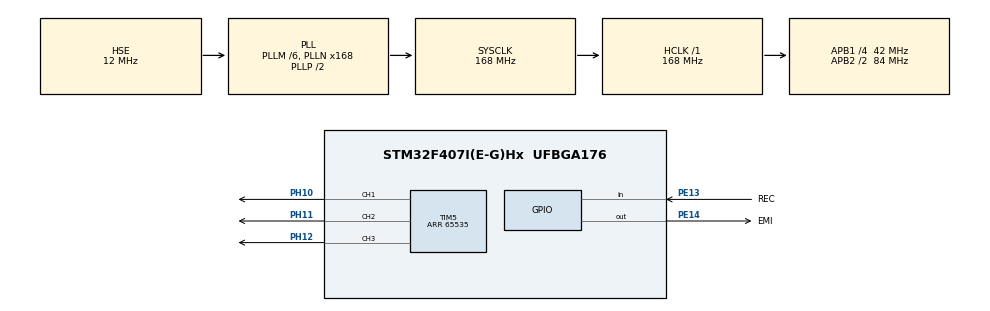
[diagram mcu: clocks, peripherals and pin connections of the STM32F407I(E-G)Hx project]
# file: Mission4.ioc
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FREERTOS.Tasks01=defaultTask,0,128,StartDefaultTask,Default,NULL,Dynamic,NULL,NULL;led_b,0,128,led_b_task,Default,NULL,Dynamic,NULL,NULL;led_g,0,128,led_g_tasl,Default,NULL,Dynamic,NULL,NULL;led_r,-3,128,led_r_task,Default,NULL,Dynamic,NULL,NULL;recieve,1,128,recieve_task,Default,NULL,Dynamic,NULL,NULL;emission,2,128,emission_task,Default,NULL,Dynamic,NULL,NULL
Mcu.Family=STM32F4
Mcu.Name=STM32F407I(E-G)Hx
Mcu.Package=UFBGA176
NVIC.PriorityGroup=NVIC_PRIORITYGROUP_4
PA13.Mode=Serial_Wire
PA13.Signal=SYS_JTMS-SWDIO
PA14.Mode=Serial_Wire
PA14.Signal=SYS_JTCK-SWCLK
PE13.GPIO_Label=REC
PE13.Signal=GPIO_Input
PE14.GPIO_Label=EMI
PE14.Signal=GPIO_Output
PH0-OSC_IN.Mode=HSE-External-Oscillator
PH0-OSC_IN.Signal=RCC_OSC_IN
PH1-OSC_OUT.Mode=HSE-External-Oscillator
PH1-OSC_OUT.Signal=RCC_OSC_OUT
PH10.Signal=S_TIM5_CH1
PH11.Signal=S_TIM5_CH2
PH12.Signal=S_TIM5_CH3
ProjectManager.HeapSize=0x200
ProjectManager.StackSize=0x400
ProjectManager.TargetToolchain=EWARM V8.50
RCC.48MHZClocksFreq_Value=84000000
RCC.AHBFreq_Value=168000000
RCC.APB1CLKDivider=RCC_HCLK_DIV4
RCC.APB1Freq_Value=42000000
RCC.APB1TimFreq_Value=84000000
RCC.APB2CLKDivider=RCC_HCLK_DIV2
RCC.APB2Freq_Value=84000000
RCC.APB2TimFreq_Value=168000000
RCC.CortexFreq_Value=168000000
RCC.HCLKFreq_Value=168000000
RCC.HSE_VALUE=12000000
RCC.HSI_VALUE=16000000
RCC.LSE_VALUE=32768
RCC.PLLM=6
RCC.PLLN=168
RCC.PLLSourceVirtual=RCC_PLLSOURCE_HSE
RCC.SYSCLKFreq_VALUE=168000000
RCC.SYSCLKSource=RCC_SYSCLKSOURCE_PLLCLK
RCC.VCOOutputFreq_Value=336000000
SH.S_TIM5_CH1.0=TIM5_CH1,PWM Generation1 CH1
SH.S_TIM5_CH2.0=TIM5_CH2,PWM Generation2 CH2
SH.S_TIM5_CH3.0=TIM5_CH3,PWM Generation3 CH3
TIM5.Channel-PWM\ Generation1\ CH1=TIM_CHANNEL_1
TIM5.Channel-PWM\ Generation2\ CH2=TIM_CHANNEL_2
TIM5.Channel-PWM\ Generation3\ CH3=TIM_CHANNEL_3
TIM5.Period=65535
TIM5.Pulse-PWM\ Generation1\ CH1=10000
TIM5.Pulse-PWM\ Generation2\ CH2=10000
TIM5.Pulse-PWM\ Generation3\ CH3=10000
VP_FREERTOS_VS_CMSIS_V1.Mode=CMSIS_V1
VP_TIM5_VS_ClockSourceINT.Mode=Internal
board=custom

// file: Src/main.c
/* USER CODE BEGIN Header */
/**
  ******************************************************************************
  * @file           : main.c
  * @brief          : Main program body
  ******************************************************************************
  * @attention
  *
  * Copyright (c) 2022 STMicroelectronics.
  * All rights reserved.
  *
  * This software is licensed under terms that can be found in the LICENSE file
  * in the root directory of this software component.
  * If no LICENSE file comes with this software, it is provided AS-IS.
  *
  ******************************************************************************
  */
/* USER CODE END Header */
#include "main.h"
#include "cmsis_os.h"
#include "tim.h"
#include "gpio.h"

/* USER CODE BEGIN PV */
uint32_t aRGB = 0xFFFF00FF;
/* USER CODE END PV */

void SystemClock_Config(void);
void MX_FREERTOS_Init(void);

int main(void)
{

  /* MCU Configuration--------------------------------------------------------*/

  /* Reset of all peripherals, Initializes the Flash interface and the Systick. */
  HAL_Init();

  /* Configure the system clock */
  SystemClock_Config();

  /* Initialize all configured peripherals */
  MX_GPIO_Init();
  MX_TIM5_Init();
  /* USER CODE BEGIN 2 */
  HAL_TIM_PWM_Start(&htim5,TIM_CHANNEL_1);
  HAL_TIM_PWM_Start(&htim5,TIM_CHANNEL_2);
  HAL_TIM_PWM_Start(&htim5,TIM_CHANNEL_3);
  /* USER CODE END 2 */

  /* Call init function for freertos objects (in freertos.c) */
  MX_FREERTOS_Init();

  /* Start scheduler */
  osKernelStart();

  /* We should never get here as control is now taken by the scheduler */
  /* Infinite loop */
  while (1)
  {

  }
}

void SystemClock_Config(void)
{
  RCC_OscInitTypeDef RCC_OscInitStruct = {0};
  RCC_ClkInitTypeDef RCC_ClkInitStruct = {0};

  /** Configure the main internal regulator output voltage
  */
  __HAL_RCC_PWR_CLK_ENABLE();
  __HAL_PWR_VOLTAGESCALING_CONFIG(PWR_REGULATOR_VOLTAGE_SCALE1);

  /** Initializes the RCC Oscillators according to the specified parameters
  * in the RCC_OscInitTypeDef structure.
  */
  RCC_OscInitStruct.OscillatorType = RCC_OSCILLATORTYPE_HSE;
  RCC_OscInitStruct.HSEState = RCC_HSE_ON;
  RCC_OscInitStruct.PLL.PLLState = RCC_PLL_ON;
  RCC_OscInitStruct.PLL.PLLSource = RCC_PLLSOURCE_HSE;
  RCC_OscInitStruct.PLL.PLLM = 6;
  RCC_OscInitStruct.PLL.PLLN = 168;
  RCC_OscInitStruct.PLL.PLLP = RCC_PLLP_DIV2;
  RCC_OscInitStruct.PLL.PLLQ = 4;
  if (HAL_RCC_OscConfig(&RCC_OscInitStruct) != HAL_OK)
  {
    Error_Handler();
  }

  /** Initializes the CPU, AHB and APB buses clocks
  */
  RCC_ClkInitStruct.ClockType = RCC_CLOCKTYPE_HCLK|RCC_CLOCKTYPE_SYSCLK
                              |RCC_CLOCKTYPE_PCLK1|RCC_CLOCKTYPE_PCLK2;
  RCC_ClkInitStruct.SYSCLKSource = RCC_SYSCLKSOURCE_PLLCLK;
  RCC_ClkInitStruct.AHBCLKDivider = RCC_SYSCLK_DIV1;
  RCC_ClkInitStruct.APB1CLKDivider = RCC_HCLK_DIV4;
  RCC_ClkInitStruct.APB2CLKDivider = RCC_HCLK_DIV2;

  if (HAL_RCC_ClockConfig(&RCC_ClkInitStruct, FLASH_LATENCY_5) != HAL_OK)
  {
    Error_Handler();
  }
}

void Error_Handler(void)
{
  __disable_irq();
  while (1)
  {
  }
}

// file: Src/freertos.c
/* USER CODE BEGIN Header */
/**
  ******************************************************************************
  * File Name          : freertos.c
  * Description        : Code for freertos applications
  ******************************************************************************
  * @attention
  *
  * Copyright (c) 2022 STMicroelectronics.
  * All rights reserved.
  *
  * This software is licensed under terms that can be found in the LICENSE file
  * in the root directory of this software component.
  * If no LICENSE file comes with this software, it is provided AS-IS.
  *
  ******************************************************************************
  */
/* USER CODE END Header */

#include "FreeRTOS.h"
#include "task.h"
#include "main.h"
#include "cmsis_os.h"

/* USER CODE BEGIN Variables */
extern uint32_t aRGB;
extern TIM_HandleTypeDef htim5;
static uint8_t alpha;
/* USER CODE END Variables */
osThreadId led_bHandle;
osThreadId led_gHandle;
osThreadId led_rHandle;
osThreadId recieveHandle;
osThreadId emissionHandle;

void StartDefaultTask(void const * argument);
void led_b_task(void const * argument);
void led_g_task(void const * argument);
void led_r_task(void const * argument);
void recieve_task(void const * argument);
void emission_task(void const * argument);

void MX_FREERTOS_Init(void); /* (MISRA C 2004 rule 8.1) */

/* GetIdleTaskMemory prototype (linked to static allocation support) */
void vApplicationGetIdleTaskMemory( StaticTask_t **ppxIdleTaskTCBBuffer, StackType_t **ppxIdleTaskStackBuffer, uint32_t *pulIdleTaskStackSize );

/* USER CODE BEGIN GET_IDLE_TASK_MEMORY */
static StaticTask_t xIdleTaskTCBBuffer;
static StackType_t xIdleStack[configMINIMAL_STACK_SIZE];

void vApplicationGetIdleTaskMemory( StaticTask_t **ppxIdleTaskTCBBuffer, StackType_t **ppxIdleTaskStackBuffer, uint32_t *pulIdleTaskStackSize )
{
  *ppxIdleTaskTCBBuffer = &xIdleTaskTCBBuffer;
  *ppxIdleTaskStackBuffer = &xIdleStack[0];
  *pulIdleTaskStackSize = configMINIMAL_STACK_SIZE;
  /* place for user code */
}
/* USER CODE END GET_IDLE_TASK_MEMORY */

void MX_FREERTOS_Init(void) {

  /* Create the thread(s) */

  /* definition and creation of led_b */
  osThreadDef(led_b, led_b_task, osPriorityNormal, 0, 128);
  led_bHandle = osThreadCreate(osThread(led_b), NULL);

  /* definition and creation of led_g */
  osThreadDef(led_g, led_g_task, osPriorityNormal, 0, 128);
  led_gHandle = osThreadCreate(osThread(led_g), NULL);

  /* definition and creation of led_r */
  osThreadDef(led_r, led_r_task, osPriorityNormal, 0, 128);
  led_rHandle = osThreadCreate(osThread(led_r), NULL);

  /* definition and creation of recieve */
  osThreadDef(recieve, recieve_task, osPriorityAboveNormal, 0, 128);
  recieveHandle = osThreadCreate(osThread(recieve), NULL);

  /* definition and creation of emission */
  osThreadDef(emission, emission_task, osPriorityHigh, 0, 128);
  emissionHandle = osThreadCreate(osThread(emission), NULL);

}

/* USER CODE BEGIN Header_StartDefaultTask */

void led_b_task(void const * argument)
{
  /* USER CODE BEGIN led_b_task */
  /* Infinite loop */
  static uint16_t blue;
  while(1)
  {
    blue = ((aRGB & 0x000000FF) >> 0) * alpha;
    __HAL_TIM_SetCompare(&htim5,TIM_CHANNEL_1,blue);
  }
  /* USER CODE END led_b_task */
}

void led_g_task(void const * argument)
{
  /* USER CODE BEGIN led_g_task */
  /* Infinite loop */
  static uint16_t green;
  while(1)
  {
    green = ((aRGB & 0x0000FF00) >> 8) * alpha;
    __HAL_TIM_SetCompare(&htim5,TIM_CHANNEL_2,green);
  }
  /* USER CODE END led_g_task */
}

void led_r_task(void const * argument)
{
  /* USER CODE BEGIN led_r_task */
  /* Infinite loop */
  static uint16_t red;
  while(1)
  {
    red = ((aRGB & 0x00FF0000) >> 16) * alpha;
    __HAL_TIM_SetCompare(&htim5,TIM_CHANNEL_3,red);
    vTaskResume(recieveHandle);
  }
  /* USER CODE END led_r_task */
}

void recieve_task(void const * argument)
{
  /* USER CODE BEGIN recieve_task */
  /* Infinite loop */
  while(1)
  {
    if(HAL_GPIO_ReadPin(REC_GPIO_Port,REC_Pin))
    {
      alpha =(aRGB & 0xFF000000) >> 24;
      while(alpha<=255)
      {
        vTaskSuspend(recieveHandle);
        alpha++;
      }
      while(alpha>=0)
      {
        vTaskSuspend(recieveHandle);
        alpha--;
      }
      vTaskResume(emissionHandle);
    }
  }
  /* USER CODE END recieve_task */
}

void emission_task(void const * argument)
{
  /* USER CODE BEGIN emission_task */
  /* Infinite loop */
  while(1)
  {
    HAL_GPIO_WritePin(EMI_GPIO_Port,EMI_Pin,GPIO_PIN_RESET);//发送红外信号

    vTaskSuspend(NULL);

    HAL_Delay(3000);
    HAL_GPIO_WritePin(EMI_GPIO_Port,EMI_Pin,GPIO_PIN_SET);
    HAL_Delay(3000);
  }
  /* USER CODE END emission_task */
}
